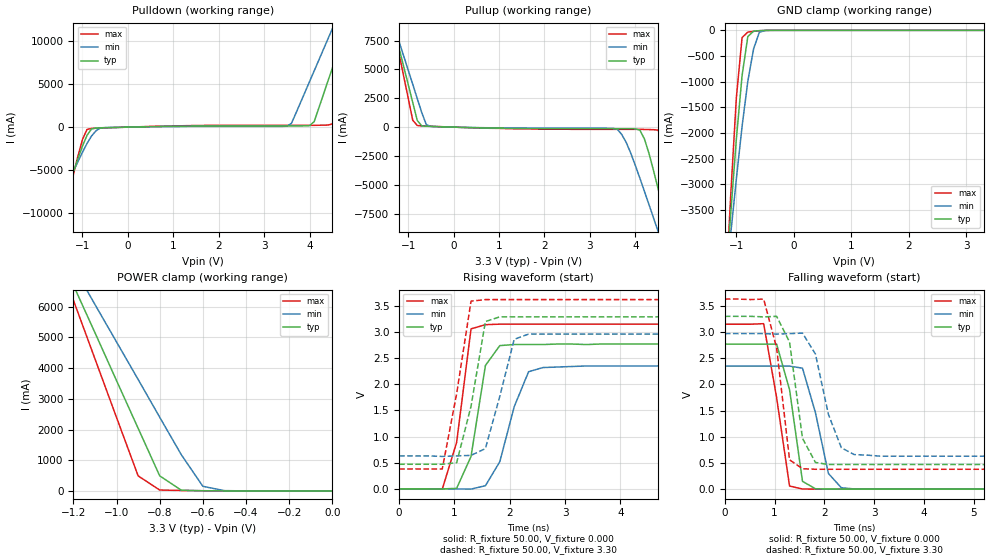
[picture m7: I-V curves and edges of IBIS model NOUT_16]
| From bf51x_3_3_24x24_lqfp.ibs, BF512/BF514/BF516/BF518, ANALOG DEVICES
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|   Model prw1216hcdg_25
[Model]   NOUT_16
Model_type   I/O
Polarity   Non-Inverting
Enable   Active-Low
Vinl =   0.40V
Vinh =   2.40V
Vmeas =   1.20V
Cref =  50.00pF
Rref =   1.00M
Vref =  0.000V
C_comp   10.54pF   9.93pF   11.34pF
[Temperature Range]   25.00   0.12k   -40.00
[Voltage Range]   3.30V   2.97V   3.63V
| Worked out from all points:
|   slope of the pulldown table from 0 to 0.495 V, typ, clamps not added: 8.38 ohm
|   slope of the pullup table from 0 to 0.495 V, typ, clamps not added: 9.48 ohm
|   GND clamp passes 1 mA (typ) near -0.47 V on its own axis
|   POWER clamp passes 1 mA (typ) near -0.48 V on its own axis
|   rising waveform, R_fixture 50.00, V_fixture 0.000: 20-80 % time 267ps typ, 409ps min, 271ps max; typ from 0 V to 2.77 V
|   rising waveform, R_fixture 50.00, V_fixture 3.30: 20-80 % time 316ps typ, 349ps min, 313ps max; typ from 0.47 V to 3.3 V
|   falling waveform, R_fixture 50.00, V_fixture 0.000: 20-80 % time 294ps typ, 350ps min, 314ps max; typ from 2.77 V to 0 V
|   falling waveform, R_fixture 50.00, V_fixture 3.30: 20-80 % time 240ps typ, 377ps min, 281ps max; typ from 3.3 V to 0.47 V
[Pulldown]
| voltage   I(typ)   I(min)   I(max)
-3.3V     -39.81A    -29.83A    -53.7A
-1.8V     -14.96A    -12.09A    -19.07A
-1.6V     -11.68A    -9.75A     -14.5A
-1.5V     -10.04A    -8.58A     -12.22A
-900mV    -950mA     -1.89A     -260mA
-600mV    -82.92mA   -85.11mA   -100mA
3.5V      140mA      110mA      210mA
4.1V      640mA      6.53A      210mA
4.5V      6.85A      11.43A     370mA
4.8V      11.52A     15.11A     5.86A
5.1V      16.2A      18.79A     11.6A
6.6V      40.47A     37.29A     43.88A
[Pullup]
| voltage   I(typ)   I(min)   I(max)
-3.3V     40.48A     33.31A     54.55A
-1.4V     9.95A      9.86A      10.18A
-1.3V     8.38A      8.63A      8.26A
-900mV    2.13A      3.71A      600mA
-800mV    580mA      2.47A      140mA
-500mV    64.01mA    59.06mA    77.45mA
3.6V      -140mA     -170mA     -190mA
4.1V      -260mA     -4.42A     -190mA
4.5V      -5.32A     -9.02A     -260mA
4.7V      -8.54A     -11.36A    -2.84A
5V        -13.45A    -14.89A    -9.42A
6.6V      -39.96A    -33.85A    -46.27A
[GND_clamp]
| voltage   I(typ)   I(min)   I(max)
-3.3V     -39.81A    -29.83A    -53.7A
-1.2V     -5.18A     -5.12A     -5.42A
-1.1V     -3.61A     -3.99A     -3.26A
-1V       -2.12A     -2.9A      -1.32A
-900mV    -880mA     -1.87A     -140mA
-800mV    -120mA     -990mA     -34.36mA
-700mV    -16.67mA   -360mA     -19.91mA
-600mV    -6.05mA    -38.28mA   -8.6mA
-500mV    -1.31mA    -3.84mA    -1.79mA
3.3V      470pA      91.36uA    -8.93uA
[POWER_clamp]
| voltage   I(typ)   I(min)   I(max)
-3.3V     40.27A     33.09A     54.35A
-1.3V     8.26A      8.52A      8.13A
-1.2V     6.7A       7.3A       6.21A
-1.1V     5.15A      6.07A      4.3A
-900mV    2.04A      3.63A      490mA
-800mV    490mA      2.4A       29.17mA
-700mV    22.68mA    1.18A      14.93mA
-600mV    5.18mA     150mA      6.63mA
-500mV    1.29mA     9.51mA     1.68mA
0V        470pA      7.19nA     190pA
[Ramp]
| variable   typ   min   max
dV/dt_r   1.66/0.25n   1.41/0.35n   1.90/0.18n
dV/dt_f   1.70/0.23n   1.41/0.33n   1.95/0.19n
R_load = 50.00
[Rising Waveform]
R_fixture = 50.00
V_fixture = 0.000
V_fixture_min = 0.000
V_fixture_max = 0.000
L_fixture = 0.000H
C_fixture = 0.000F
| time   V(typ)   V(min)   V(max)
0s        0V         0V         0V
780ps     -2.03mV    -110uV     -6.2mV
1.04ns    9.65mV     -1.33mV    890mV
1.3ns     620mV      -4.94mV    3.06V
1.56ns    2.36V      59.9mV     3.14V
1.82ns    2.74V      520mV      3.15V
2.08ns    2.76V      1.57V      3.15V
2.34ns    2.76V      2.24V      3.15V
2.6ns     2.76V      2.32V      3.15V
13ns      2.77V      2.35V      3.15V
[Rising Waveform]
R_fixture = 50.00
V_fixture = 3.30
V_fixture_min = 2.97
V_fixture_max = 3.63
L_fixture = 0.000H
C_fixture = 0.000F
| time   V(typ)   V(min)   V(max)
0s        470mV      630mV      380mV
780ps     470mV      620mV      380mV
1.04ns    500mV      630mV      1.82V
1.3ns     1.58V      640mV      3.59V
1.56ns    3.2V       770mV      3.62V
1.82ns    3.29V      1.77V      3.62V
2.08ns    3.29V      2.86V      3.62V
2.34ns    3.29V      2.96V      3.62V
13ns      3.3V       2.97V      3.63V
[Falling Waveform]
R_fixture = 50.00
V_fixture = 0.000
V_fixture_min = 0.000
V_fixture_max = 0.000
L_fixture = 0.000H
C_fixture = 0.000F
| time   V(typ)   V(min)   V(max)
0s        2.77V      2.35V      3.15V
780ps     2.77V      2.35V      3.16V
1.04ns    2.77V      2.35V      1.75V
1.3ns     1.9V       2.35V      60.04mV
1.56ns    150mV      2.31V      2.85mV
1.82ns    6.96mV     1.46V      1.08mV
2.08ns    1.84mV     300mV      540uV
2.34ns    980uV      26.72mV    340uV
3.12ns    230uV      970uV      160uV
13ns      -11.19uV   12.01uV    -15.29uV
[Falling Waveform]
R_fixture = 50.00
V_fixture = 3.30
V_fixture_min = 2.97
V_fixture_max = 3.63
L_fixture = 0.000H
C_fixture = 0.000F
| time   V(typ)   V(min)   V(max)
0s        3.3V       2.97V      3.63V
780ps     3.29V      2.97V      3.63V
1.04ns    3.3V       2.96V      2.7V
1.3ns     2.81V      2.97V      560mV
1.56ns    970mV      2.98V      390mV
1.82ns    510mV      2.58V      380mV
2.08ns    470mV      1.43V      380mV
2.34ns    470mV      790mV      380mV
2.6ns     470mV      660mV      380mV
13ns      470mV      630mV      380mV
